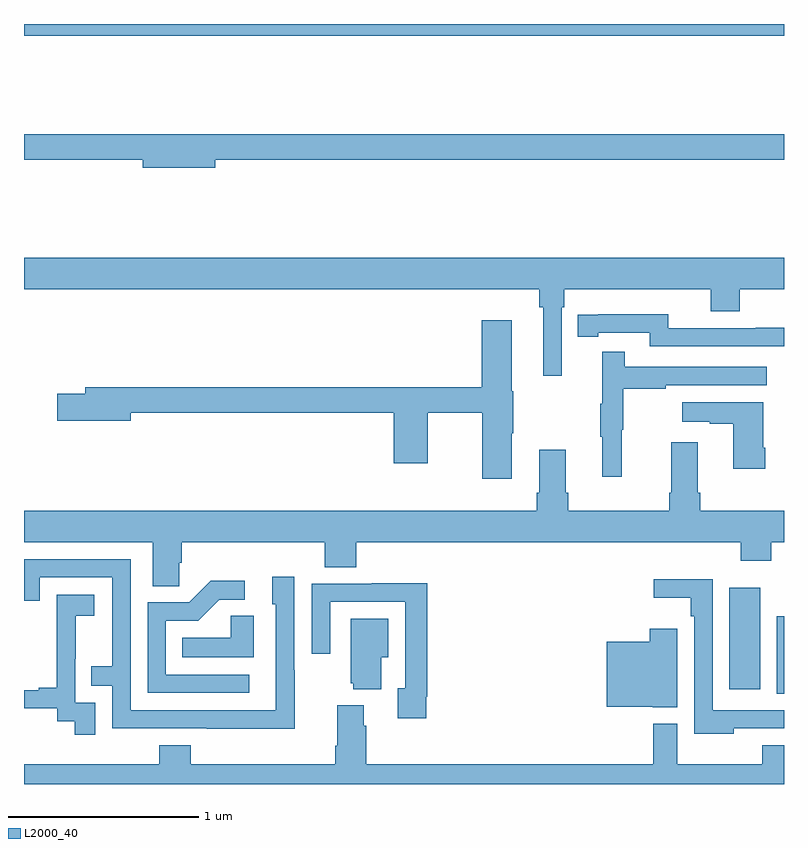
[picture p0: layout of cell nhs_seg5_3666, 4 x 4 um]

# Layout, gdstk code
import gdstk
lib = gdstk.Library(unit=1e-6, precision=1e-09)
def R(c, l, rs):  # rectangles x0, y0, x1, y1
    for r in rs: c.add(gdstk.rectangle(r[:2], r[2:], *l))
def P(c, l, *ps):  # polygons
    for p in ps: c.add(gdstk.Polygon(p, *l))
L2000_40 = (2000, 40)

nhs_seg5_3666 = lib.new_cell('nhs_seg5_3666')
R(nhs_seg5_3666, L2000_40, [(330.962,877.273,331,877.681), (330.713,877.299,330.874,877.831), (327,880.736,331,880.799)])
P(nhs_seg5_3666, L2000_40, [(328.006,880.084),(331,880.084),(331,880.22),(327,880.22),(327,880.084),(327.626,880.084),(327.626,880.042),(328.006,880.042)],
  [(329.829,879.308),(329.843,879.308),(329.843,879.404),(330.614,879.404),(330.614,879.287),(330.767,879.287),(330.767,879.404),(331,879.404),(331,879.568),(327,879.568),(327,879.404),(329.713,879.404),(329.713,879.308),(329.732,879.308),(329.732,878.949),(329.829,878.949)],
  [(331,879.2),(330.85,879.2),(330.85,879.198),(330.39,879.198),(330.39,879.271),(330.022,879.271),(330.022,879.27),(329.914,879.27),(329.914,879.154),(330.022,879.154),(330.022,879.174),(330.294,879.174),(330.294,879.102),(331,879.102)],
  [(329.566,878.644),(329.574,878.644),(329.574,878.865),(329.566,878.865),(329.566,879.241),(329.408,879.241),(329.408,878.888),(327.323,878.888),(327.323,878.852),(327.174,878.852),(327.174,878.71),(327.562,878.71),(327.562,878.752),(328.946,878.752),(328.946,878.487),(329.124,878.487),(329.124,878.752),(329.413,878.752),(329.413,878.406),(329.566,878.406)],
  [(330.146,878.664),(330.154,878.664),(330.154,878.878),(330.377,878.878),(330.377,878.898),(330.91,878.898),(330.91,878.994),(330.161,878.994),(330.161,879.073),(330.044,879.073),(330.044,878.801),(330.033,878.801),(330.033,878.627),(330.044,878.627),(330.044,878.415),(330.146,878.415)],
  [(330.9,878.569),(330.892,878.569),(330.892,878.809),(330.465,878.809),(330.465,878.705),(330.608,878.705),(330.608,878.695),(330.734,878.695),(330.734,878.457),(330.9,878.457)],
  [(327,878.072),(327.677,878.072),(327.677,877.84),(327.816,877.84),(327.816,877.963),(327.83,877.963),(327.83,878.072),(328.583,878.072),(328.583,877.939),(328.748,877.939),(328.748,878.072),(330.773,878.072),(330.773,877.973),(330.933,877.973),(330.933,878.072),(331,878.072),(331,878.236),(330.56,878.236),(330.56,878.332),(330.547,878.332),(330.547,878.599),(330.407,878.599),(330.407,878.332),(330.395,878.332),(330.395,878.236),(329.864,878.236),(329.864,878.332),(329.851,878.332),(329.851,878.557),(329.711,878.557),(329.711,878.332),(329.699,878.332),(329.699,878.236),(327,878.236)],
  [(328.425,877.397),(328.422,877.397),(328.422,877.891),(328.307,877.891),(328.307,877.746),(328.326,877.746),(328.326,877.188),(327.561,877.188),(327.561,877.983),(327,877.983),(327,877.764),(327.084,877.764),(327.084,877.887),(327.465,877.887),(327.465,877.418),(327.355,877.418),(327.355,877.317),(327.465,877.317),(327.465,877.092),(327.961,877.092),(327.961,877.091),(328.425,877.091)],
  [(330.735,877.092),(331,877.092),(331,877.188),(330.624,877.188),(330.624,877.877),(330.315,877.877),(330.315,877.778),(330.508,877.778),(330.508,877.682),(330.528,877.682),(330.528,877.064),(330.735,877.064)],
  [(328.186,877.374),(327.747,877.374),(327.747,877.659),(327.916,877.659),(328.027,877.77),(328.162,877.77),(328.162,877.868),(327.983,877.868),(327.87,877.755),(327.651,877.755),(327.651,877.278),(328.186,877.278)],
  [(329.116,877.258),(329.123,877.258),(329.123,877.856),(328.831,877.856),(328.831,877.854),(328.515,877.854),(328.515,877.485),(328.611,877.485),(328.611,877.758),(329.007,877.758),(329.007,877.302),(328.967,877.302),(328.967,877.146),(329.116,877.146)],
  [(327.375,877.227),(327.27,877.227),(327.27,877.457),(327.272,877.457),(327.272,877.685),(327.37,877.685),(327.37,877.795),(327.172,877.795),(327.172,877.589),(327.173,877.589),(327.173,877.306),(327.077,877.306),(327.077,877.293),(327,877.293),(327,877.197),(327.174,877.197),(327.174,877.129),(327.267,877.129),(327.267,877.059),(327.375,877.059)],
  [(328.21,877.685),(328.089,877.685),(328.089,877.57),(327.832,877.57),(327.832,877.466),(328.21,877.466)],
  [(328.879,877.466),(328.918,877.466),(328.918,877.669),(328.721,877.669),(328.721,877.329),(328.733,877.329),(328.733,877.298),(328.879,877.298)],
  [(330.439,877.615),(330.293,877.615),(330.293,877.549),(330.068,877.549),(330.068,877.205),(330.309,877.205),(330.309,877.202),(330.439,877.202)],
  [(331,877.003),(330.886,877.003),(330.886,876.904),(330.439,876.904),(330.439,877.117),(330.311,877.117),(330.311,876.904),(328.802,876.904),(328.802,877.106),(328.789,877.106),(328.789,877.213),(328.649,877.213),(328.649,877),(328.637,877),(328.637,876.904),(327.878,876.904),(327.878,877.003),(327.713,877.003),(327.713,876.904),(327,876.904),(327,876.799),(331,876.799)])

lib.write_gds('nhs_seg5_3666.gds')
